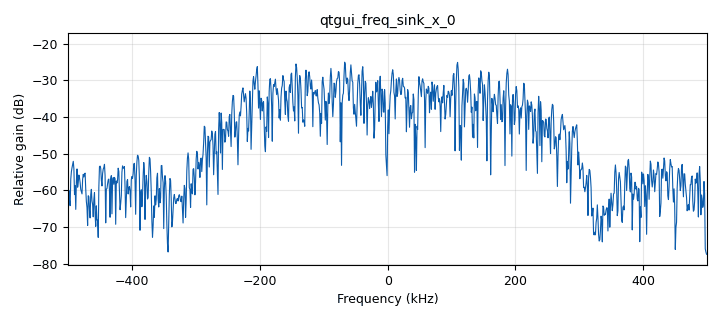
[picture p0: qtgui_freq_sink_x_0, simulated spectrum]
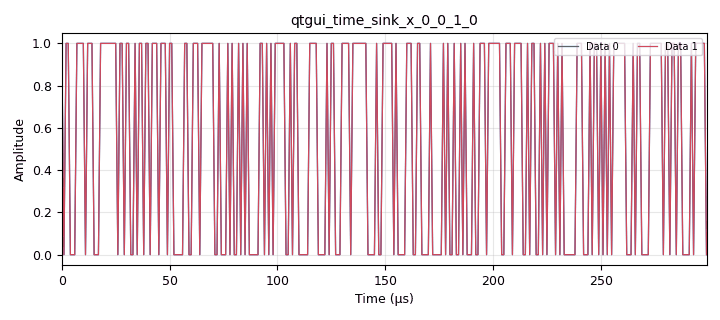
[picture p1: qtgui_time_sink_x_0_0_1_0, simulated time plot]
<?xml version='1.0' encoding='utf-8'?>
<?grc format='1' created='3.7.10'?>
<flow_graph>
<block>
<key>options</key>
<param><key>id</key><value>top_block</value></param>
<param><key>category</key><value>Custom</value></param>
<param><key>generate_options</key><value>qt_gui</value></param>
</block>
<block>
<key>variable</key>
<param><key>id</key><value>bt</value></param>
<param><key>value</key><value>.35</value></param>
</block>
<block>
<key>variable</key>
<param><key>id</key><value>samp_rate</value></param>
<param><key>value</key><value>1e6</value></param>
</block>
<block>
<key>variable</key>
<param><key>id</key><value>sps</value></param>
<param><key>value</key><value>2</value></param>
</block>
<block>
<key>analog_random_source_x</key>
<param><key>id</key><value>analog_random_source_x_0</value></param>
<param><key>max</key><value>256</value></param>
<param><key>min</key><value>0</value></param>
<param><key>num_samps</key><value>10000</value></param>
<param><key>type</key><value>byte</value></param>
<param><key>repeat</key><value>True</value></param>
</block>
<block>
<key>blks2_error_rate</key>
<param><key>id</key><value>blks2_error_rate_0</value></param>
<param><key>bits_per_symbol</key><value>1</value></param>
<param><key>type</key><value>'BER'</value></param>
<param><key>win_size</key><value>1000000</value></param>
</block>
<block>
<key>blocks_char_to_float</key>
<param><key>id</key><value>blocks_char_to_float_0</value></param>
<param><key>scale</key><value>1</value></param>
</block>
<block>
<key>blocks_char_to_float</key>
<param><key>id</key><value>blocks_char_to_float_0_0</value></param>
<param><key>scale</key><value>1</value></param>
</block>
<block>
<key>blocks_delay</key>
<param><key>id</key><value>blocks_delay_0</value></param>
<param><key>delay</key><value>0</value></param>
<param><key>type</key><value>byte</value></param>
</block>
<block>
<key>blocks_unpack_k_bits_bb</key>
<param><key>id</key><value>blocks_unpack_k_bits_bb_0</value></param>
<param><key>k</key><value>8</value></param>
</block>
<block>
<key>digital_gfsk_demod</key>
<param><key>id</key><value>digital_gfsk_demod_0</value></param>
<param><key>freq_error</key><value>0.0</value></param>
<param><key>gain_mu</key><value>0.175</value></param>
<param><key>mu</key><value>0.5</value></param>
<param><key>omega_relative_limit</key><value>0.005</value></param>
<param><key>samples_per_symbol</key><value>sps</value></param>
<param><key>sensitivity</key><value>1.0</value></param>
</block>
<block>
<key>digital_gfsk_mod</key>
<param><key>id</key><value>digital_gfsk_mod_0</value></param>
<param><key>bt</key><value>bt</value></param>
<param><key>samples_per_symbol</key><value>sps</value></param>
<param><key>sensitivity</key><value>1.0</value></param>
</block>
<block>
<key>qtgui_freq_sink_x</key>
<param><key>id</key><value>qtgui_freq_sink_x_0</value></param>
<param><key>autoscale</key><value>True</value></param>
<param><key>bw</key><value>samp_rate</value></param>
<param><key>fc</key><value>0</value></param>
<param><key>fftsize</key><value>1024</value></param>
<param><key>grid</key><value>True</value></param>
<param><key>showports</key><value>True</value></param>
<param><key>type</key><value>complex</value></param>
<param><key>wintype</key><value>firdes.WIN_BLACKMAN_hARRIS</value></param>
</block>
<block>
<key>qtgui_number_sink</key>
<param><key>id</key><value>qtgui_number_sink_0</value></param>
<param><key>autoscale</key><value>True</value></param>
<param><key>graph_type</key><value>qtgui.NUM_GRAPH_HORIZ</value></param>
<param><key>type</key><value>float</value></param>
<param><key>label1</key><value>BER</value></param>
<param><key>max</key><value>1e-5</value></param>
<param><key>min</key><value>0</value></param>
</block>
<block>
<key>qtgui_time_sink_x</key>
<param><key>id</key><value>qtgui_time_sink_x_0_0_1_0</value></param>
<param><key>autoscale</key><value>True</value></param>
<param><key>grid</key><value>True</value></param>
<param><key>color1</key><value>"blue"</value></param>
<param><key>label1</key><value></value></param>
<param><key>color2</key><value>"red"</value></param>
<param><key>label2</key><value></value></param>
<param><key>nconnections</key><value>2</value></param>
<param><key>size</key><value>300</value></param>
<param><key>srate</key><value>samp_rate</value></param>
<param><key>type</key><value>float</value></param>
<param><key>update_time</key><value>.10</value></param>
</block>
<connection><source_block_id>analog_random_source_x_0</source_block_id><sink_block_id>blocks_unpack_k_bits_bb_0</sink_block_id><source_key>0</source_key><sink_key>0</sink_key></connection>
<connection><source_block_id>analog_random_source_x_0</source_block_id><sink_block_id>digital_gfsk_mod_0</sink_block_id><source_key>0</source_key><sink_key>0</sink_key></connection>
<connection><source_block_id>blks2_error_rate_0</source_block_id><sink_block_id>qtgui_number_sink_0</sink_block_id><source_key>0</source_key><sink_key>0</sink_key></connection>
<connection><source_block_id>blocks_char_to_float_0</source_block_id><sink_block_id>qtgui_time_sink_x_0_0_1_0</sink_block_id><source_key>0</source_key><sink_key>0</sink_key></connection>
<connection><source_block_id>blocks_char_to_float_0_0</source_block_id><sink_block_id>qtgui_time_sink_x_0_0_1_0</sink_block_id><source_key>0</source_key><sink_key>1</sink_key></connection>
<connection><source_block_id>blocks_delay_0</source_block_id><sink_block_id>blks2_error_rate_0</sink_block_id><source_key>0</source_key><sink_key>0</sink_key></connection>
<connection><source_block_id>blocks_delay_0</source_block_id><sink_block_id>blocks_char_to_float_0</sink_block_id><source_key>0</source_key><sink_key>0</sink_key></connection>
<connection><source_block_id>blocks_unpack_k_bits_bb_0</source_block_id><sink_block_id>blocks_delay_0</sink_block_id><source_key>0</source_key><sink_key>0</sink_key></connection>
<connection><source_block_id>digital_gfsk_demod_0</source_block_id><sink_block_id>blks2_error_rate_0</sink_block_id><source_key>0</source_key><sink_key>1</sink_key></connection>
<connection><source_block_id>digital_gfsk_demod_0</source_block_id><sink_block_id>blocks_char_to_float_0_0</sink_block_id><source_key>0</source_key><sink_key>0</sink_key></connection>
<connection><source_block_id>digital_gfsk_mod_0</source_block_id><sink_block_id>digital_gfsk_demod_0</sink_block_id><source_key>0</source_key><sink_key>0</sink_key></connection>
<connection><source_block_id>digital_gfsk_mod_0</source_block_id><sink_block_id>qtgui_freq_sink_x_0</sink_block_id><source_key>0</source_key><sink_key>0</sink_key></connection>
</flow_graph>
